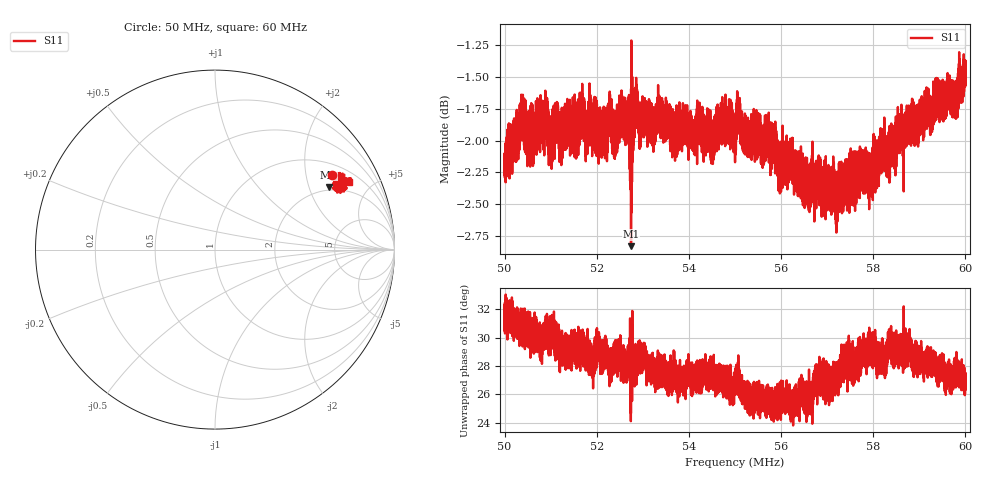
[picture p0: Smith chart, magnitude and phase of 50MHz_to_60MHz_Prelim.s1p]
# HZ S RI R 50
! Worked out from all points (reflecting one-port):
!   20200 points, 50 MHz to 60 MHz, reference 50 ohm
!   lowest |S11| = -2.8 dB at 52.74 MHz (marker M1), VSWR 6.20, Z = 93.2 + j136 ohm
!   phase of S11 starts at 32 deg and turns -5 deg over the sweep
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5e7  0.6515 0.4134
5.036333e7  0.6802 0.4123
5.05054e7  0.6952 0.401
5.086674e7  0.6959 0.4077
5.100287e7  0.6737 0.402
5.112761e7  0.7058 0.3919
5.124988e7  0.6958 0.4043
5.249975e7  0.6986 0.3965
5.274329e7  0.6324 0.3487
5.284823e7  0.7264 0.3792
5.296208e7  0.7004 0.3926
5.335758e7  0.7252 0.3681
5.374962e7  0.7117 0.3619
5.449559e7  0.7066 0.3805
5.46723e7  0.7237 0.3575
5.49995e7  0.6991 0.3475
5.569102e7  0.7143 0.3409
5.59801e7  0.6975 0.3342
5.624938e7  0.7028 0.3226
5.659884e7  0.688 0.3313
5.690376e7  0.6707 0.352
5.720274e7  0.6638 0.3563
5.749925e7  0.6746 0.3633
5.794624e7  0.6609 0.3797
5.818086e7  0.6826 0.373
5.833382e7  0.6724 0.3938
5.874912e7  0.6989 0.3992
5.99985e7  0.7434 0.3809
